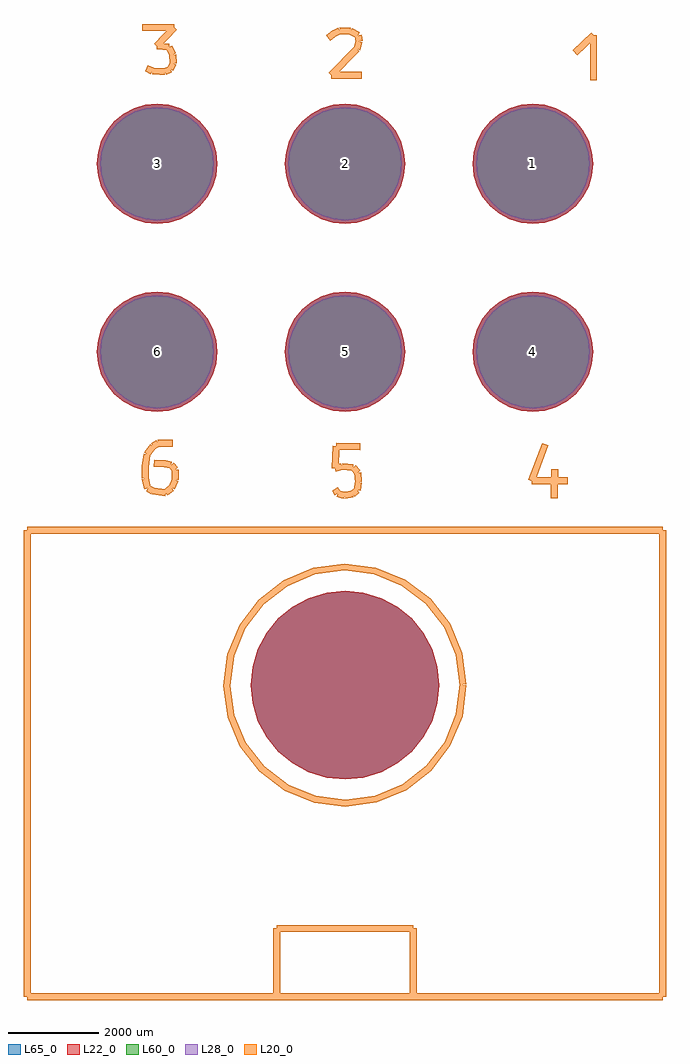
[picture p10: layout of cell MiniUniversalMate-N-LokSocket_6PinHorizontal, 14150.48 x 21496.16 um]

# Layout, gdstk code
import gdstk
lib = gdstk.Library(unit=1e-6, precision=1e-09)
def P(c, l, *ps):  # polygons
    for p in ps: c.add(gdstk.Polygon(p, *l))
L20_0 = (20, 0)
L22_0 = (22, 0)
L28_0 = (28, 0)
L60_0 = (60, 0)
L65_0 = (65, 0)

miniuniversalmate_n_loks = lib.new_cell('MiniUniversalMate-N-LokSocket_6PinHorizontal')
P(miniuniversalmate_n_loks, L22_0, [(2075.25,-9410.7),(2035.375,-9005.839),(1917.281,-8616.536),(1725.507,-8257.753),(1467.423,-7943.277),(1152.947,-7685.193),(794.164,-7493.419),(404.861,-7375.325),(0,-7335.45),(-404.861,-7375.325),(-794.164,-7493.419),(-1152.947,-7685.193),(-1467.423,-7943.277),(-1725.507,-8257.753),(-1917.281,-8616.536),(-2035.375,-9005.839),(-2075.25,-9410.7),(-2035.375,-9815.561),(-1917.281,-10204.864),(-1725.507,-10563.647),(-1467.423,-10878.123),(-1152.947,-11136.207),(-794.164,-11327.981),(-404.861,-11446.075),(0,-11485.95),(404.861,-11446.075),(794.164,-11327.981),(1152.947,-11136.207),(1467.423,-10878.123),(1725.507,-10563.647),(1917.281,-10204.864),(2035.375,-9815.561)],
  [(-2815.52,-2070.1),(-2840.973,-1811.668),(-2916.355,-1563.167),(-3038.769,-1334.147),(-3203.51,-1133.41),(-3404.247,-968.669),(-3633.267,-846.255),(-3881.768,-770.873),(-4140.2,-745.42),(-4398.632,-770.873),(-4647.133,-846.255),(-4876.153,-968.669),(-5076.89,-1133.41),(-5241.631,-1334.147),(-5364.045,-1563.167),(-5439.427,-1811.668),(-5464.88,-2070.1),(-5439.427,-2328.532),(-5364.045,-2577.033),(-5241.631,-2806.053),(-5076.89,-3006.79),(-4876.153,-3171.531),(-4647.133,-3293.945),(-4398.632,-3369.327),(-4140.2,-3394.78),(-3881.768,-3369.327),(-3633.267,-3293.945),(-3404.247,-3171.531),(-3203.51,-3006.79),(-3038.769,-2806.053),(-2916.355,-2577.033),(-2840.973,-2328.532)],
  [(1324.68,-2070.1),(1299.227,-1811.668),(1223.845,-1563.167),(1101.431,-1334.147),(936.69,-1133.41),(735.953,-968.669),(506.933,-846.255),(258.432,-770.873),(0,-745.42),(-258.432,-770.873),(-506.933,-846.255),(-735.953,-968.669),(-936.69,-1133.41),(-1101.431,-1334.147),(-1223.845,-1563.167),(-1299.227,-1811.668),(-1324.68,-2070.1),(-1299.227,-2328.532),(-1223.845,-2577.033),(-1101.431,-2806.053),(-936.69,-3006.79),(-735.953,-3171.531),(-506.933,-3293.945),(-258.432,-3369.327),(0,-3394.78),(258.432,-3369.327),(506.933,-3293.945),(735.953,-3171.531),(936.69,-3006.79),(1101.431,-2806.053),(1223.845,-2577.033),(1299.227,-2328.532)],
  [(5464.88,-2070.1),(5439.427,-1811.668),(5364.045,-1563.167),(5241.631,-1334.147),(5076.89,-1133.41),(4876.153,-968.669),(4647.133,-846.255),(4398.632,-770.873),(4140.2,-745.42),(3881.768,-770.873),(3633.267,-846.255),(3404.247,-968.669),(3203.51,-1133.41),(3038.769,-1334.147),(2916.355,-1563.167),(2840.973,-1811.668),(2815.52,-2070.1),(2840.973,-2328.532),(2916.355,-2577.033),(3038.769,-2806.053),(3203.51,-3006.79),(3404.247,-3171.531),(3633.267,-3293.945),(3881.768,-3369.327),(4140.2,-3394.78),(4398.632,-3369.327),(4647.133,-3293.945),(4876.153,-3171.531),(5076.89,-3006.79),(5241.631,-2806.053),(5364.045,-2577.033),(5439.427,-2328.532)],
  [(-2815.52,2070.1),(-2840.973,2328.532),(-2916.355,2577.033),(-3038.769,2806.053),(-3203.51,3006.79),(-3404.247,3171.531),(-3633.267,3293.945),(-3881.768,3369.327),(-4140.2,3394.78),(-4398.632,3369.327),(-4647.133,3293.945),(-4876.153,3171.531),(-5076.89,3006.79),(-5241.631,2806.053),(-5364.045,2577.033),(-5439.427,2328.532),(-5464.88,2070.1),(-5439.427,1811.668),(-5364.045,1563.167),(-5241.631,1334.147),(-5076.89,1133.41),(-4876.153,968.669),(-4647.133,846.255),(-4398.632,770.873),(-4140.2,745.42),(-3881.768,770.873),(-3633.267,846.255),(-3404.247,968.669),(-3203.51,1133.41),(-3038.769,1334.147),(-2916.355,1563.167),(-2840.973,1811.668)],
  [(1324.68,2070.1),(1299.227,2328.532),(1223.845,2577.033),(1101.431,2806.053),(936.69,3006.79),(735.953,3171.531),(506.933,3293.945),(258.432,3369.327),(0,3394.78),(-258.432,3369.327),(-506.933,3293.945),(-735.953,3171.531),(-936.69,3006.79),(-1101.431,2806.053),(-1223.845,2577.033),(-1299.227,2328.532),(-1324.68,2070.1),(-1299.227,1811.668),(-1223.845,1563.167),(-1101.431,1334.147),(-936.69,1133.41),(-735.953,968.669),(-506.933,846.255),(-258.432,770.873),(0,745.42),(258.432,770.873),(506.933,846.255),(735.953,968.669),(936.69,1133.41),(1101.431,1334.147),(1223.845,1563.167),(1299.227,1811.668)],
  [(5464.88,2070.1),(5439.427,2328.532),(5364.045,2577.033),(5241.631,2806.053),(5076.89,3006.79),(4876.153,3171.531),(4647.133,3293.945),(4398.632,3369.327),(4140.2,3394.78),(3881.768,3369.327),(3633.267,3293.945),(3404.247,3171.531),(3203.51,3006.79),(3038.769,2806.053),(2916.355,2577.033),(2840.973,2328.532),(2815.52,2070.1),(2840.973,1811.668),(2916.355,1563.167),(3038.769,1334.147),(3203.51,1133.41),(3404.247,968.669),(3633.267,846.255),(3881.768,770.873),(4140.2,745.42),(4398.632,770.873),(4647.133,846.255),(4876.153,968.669),(5076.89,1133.41),(5241.631,1334.147),(5364.045,1563.167),(5439.427,1811.668)])
P(miniuniversalmate_n_loks, L28_0, [(-2890.52,-2070.1),(-2914.532,-1826.3),(-2985.646,-1591.868),(-3101.129,-1375.815),(-3256.543,-1186.443),(-3445.915,-1031.029),(-3661.968,-915.546),(-3896.4,-844.432),(-4140.2,-820.42),(-4384,-844.432),(-4618.432,-915.546),(-4834.485,-1031.029),(-5023.857,-1186.443),(-5179.271,-1375.815),(-5294.754,-1591.868),(-5365.868,-1826.3),(-5389.88,-2070.1),(-5365.868,-2313.9),(-5294.754,-2548.332),(-5179.271,-2764.385),(-5023.857,-2953.757),(-4834.485,-3109.171),(-4618.432,-3224.654),(-4384,-3295.768),(-4140.2,-3319.78),(-3896.4,-3295.768),(-3661.968,-3224.654),(-3445.915,-3109.171),(-3256.543,-2953.757),(-3101.129,-2764.385),(-2985.646,-2548.332),(-2914.532,-2313.9)],
  [(1249.68,-2070.1),(1225.668,-1826.3),(1154.554,-1591.868),(1039.071,-1375.815),(883.657,-1186.443),(694.285,-1031.029),(478.232,-915.546),(243.8,-844.432),(0,-820.42),(-243.8,-844.432),(-478.232,-915.546),(-694.285,-1031.029),(-883.657,-1186.443),(-1039.071,-1375.815),(-1154.554,-1591.868),(-1225.668,-1826.3),(-1249.68,-2070.1),(-1225.668,-2313.9),(-1154.554,-2548.332),(-1039.071,-2764.385),(-883.657,-2953.757),(-694.285,-3109.171),(-478.232,-3224.654),(-243.8,-3295.768),(0,-3319.78),(243.8,-3295.768),(478.232,-3224.654),(694.285,-3109.171),(883.657,-2953.757),(1039.071,-2764.385),(1154.554,-2548.332),(1225.668,-2313.9)],
  [(5389.88,-2070.1),(5365.868,-1826.3),(5294.754,-1591.868),(5179.271,-1375.815),(5023.857,-1186.443),(4834.485,-1031.029),(4618.432,-915.546),(4384,-844.432),(4140.2,-820.42),(3896.4,-844.432),(3661.968,-915.546),(3445.915,-1031.029),(3256.543,-1186.443),(3101.129,-1375.815),(2985.646,-1591.868),(2914.532,-1826.3),(2890.52,-2070.1),(2914.532,-2313.9),(2985.646,-2548.332),(3101.129,-2764.385),(3256.543,-2953.757),(3445.915,-3109.171),(3661.968,-3224.654),(3896.4,-3295.768),(4140.2,-3319.78),(4384,-3295.768),(4618.432,-3224.654),(4834.485,-3109.171),(5023.857,-2953.757),(5179.271,-2764.385),(5294.754,-2548.332),(5365.868,-2313.9)],
  [(-2890.52,2070.1),(-2914.532,2313.9),(-2985.646,2548.332),(-3101.129,2764.385),(-3256.543,2953.757),(-3445.915,3109.171),(-3661.968,3224.654),(-3896.4,3295.768),(-4140.2,3319.78),(-4384,3295.768),(-4618.432,3224.654),(-4834.485,3109.171),(-5023.857,2953.757),(-5179.271,2764.385),(-5294.754,2548.332),(-5365.868,2313.9),(-5389.88,2070.1),(-5365.868,1826.3),(-5294.754,1591.868),(-5179.271,1375.815),(-5023.857,1186.443),(-4834.485,1031.029),(-4618.432,915.546),(-4384,844.432),(-4140.2,820.42),(-3896.4,844.432),(-3661.968,915.546),(-3445.915,1031.029),(-3256.543,1186.443),(-3101.129,1375.815),(-2985.646,1591.868),(-2914.532,1826.3)],
  [(1249.68,2070.1),(1225.668,2313.9),(1154.554,2548.332),(1039.071,2764.385),(883.657,2953.757),(694.285,3109.171),(478.232,3224.654),(243.8,3295.768),(0,3319.78),(-243.8,3295.768),(-478.232,3224.654),(-694.285,3109.171),(-883.657,2953.757),(-1039.071,2764.385),(-1154.554,2548.332),(-1225.668,2313.9),(-1249.68,2070.1),(-1225.668,1826.3),(-1154.554,1591.868),(-1039.071,1375.815),(-883.657,1186.443),(-694.285,1031.029),(-478.232,915.546),(-243.8,844.432),(0,820.42),(243.8,844.432),(478.232,915.546),(694.285,1031.029),(883.657,1186.443),(1039.071,1375.815),(1154.554,1591.868),(1225.668,1826.3)],
  [(5389.88,2070.1),(5365.868,2313.9),(5294.754,2548.332),(5179.271,2764.385),(5023.857,2953.757),(4834.485,3109.171),(4618.432,3224.654),(4384,3295.768),(4140.2,3319.78),(3896.4,3295.768),(3661.968,3224.654),(3445.915,3109.171),(3256.543,2953.757),(3101.129,2764.385),(2985.646,2548.332),(2914.532,2313.9),(2890.52,2070.1),(2914.532,1826.3),(2985.646,1591.868),(3101.129,1375.815),(3256.543,1186.443),(3445.915,1031.029),(3661.968,915.546),(3896.4,844.432),(4140.2,820.42),(4384,844.432),(4618.432,915.546),(4834.485,1031.029),(5023.857,1186.443),(5179.271,1375.815),(5294.754,1591.868),(5365.868,1826.3)])
P(miniuniversalmate_n_loks, L60_0, [(-2890.52,-2070.1),(-2914.532,-1826.3),(-2985.646,-1591.868),(-3101.129,-1375.815),(-3256.543,-1186.443),(-3445.915,-1031.029),(-3661.968,-915.546),(-3896.4,-844.432),(-4140.2,-820.42),(-4384,-844.432),(-4618.432,-915.546),(-4834.485,-1031.029),(-5023.857,-1186.443),(-5179.271,-1375.815),(-5294.754,-1591.868),(-5365.868,-1826.3),(-5389.88,-2070.1),(-5365.868,-2313.9),(-5294.754,-2548.332),(-5179.271,-2764.385),(-5023.857,-2953.757),(-4834.485,-3109.171),(-4618.432,-3224.654),(-4384,-3295.768),(-4140.2,-3319.78),(-3896.4,-3295.768),(-3661.968,-3224.654),(-3445.915,-3109.171),(-3256.543,-2953.757),(-3101.129,-2764.385),(-2985.646,-2548.332),(-2914.532,-2313.9)],
  [(1249.68,-2070.1),(1225.668,-1826.3),(1154.554,-1591.868),(1039.071,-1375.815),(883.657,-1186.443),(694.285,-1031.029),(478.232,-915.546),(243.8,-844.432),(0,-820.42),(-243.8,-844.432),(-478.232,-915.546),(-694.285,-1031.029),(-883.657,-1186.443),(-1039.071,-1375.815),(-1154.554,-1591.868),(-1225.668,-1826.3),(-1249.68,-2070.1),(-1225.668,-2313.9),(-1154.554,-2548.332),(-1039.071,-2764.385),(-883.657,-2953.757),(-694.285,-3109.171),(-478.232,-3224.654),(-243.8,-3295.768),(0,-3319.78),(243.8,-3295.768),(478.232,-3224.654),(694.285,-3109.171),(883.657,-2953.757),(1039.071,-2764.385),(1154.554,-2548.332),(1225.668,-2313.9)],
  [(5389.88,-2070.1),(5365.868,-1826.3),(5294.754,-1591.868),(5179.271,-1375.815),(5023.857,-1186.443),(4834.485,-1031.029),(4618.432,-915.546),(4384,-844.432),(4140.2,-820.42),(3896.4,-844.432),(3661.968,-915.546),(3445.915,-1031.029),(3256.543,-1186.443),(3101.129,-1375.815),(2985.646,-1591.868),(2914.532,-1826.3),(2890.52,-2070.1),(2914.532,-2313.9),(2985.646,-2548.332),(3101.129,-2764.385),(3256.543,-2953.757),(3445.915,-3109.171),(3661.968,-3224.654),(3896.4,-3295.768),(4140.2,-3319.78),(4384,-3295.768),(4618.432,-3224.654),(4834.485,-3109.171),(5023.857,-2953.757),(5179.271,-2764.385),(5294.754,-2548.332),(5365.868,-2313.9)],
  [(-2890.52,2070.1),(-2914.532,2313.9),(-2985.646,2548.332),(-3101.129,2764.385),(-3256.543,2953.757),(-3445.915,3109.171),(-3661.968,3224.654),(-3896.4,3295.768),(-4140.2,3319.78),(-4384,3295.768),(-4618.432,3224.654),(-4834.485,3109.171),(-5023.857,2953.757),(-5179.271,2764.385),(-5294.754,2548.332),(-5365.868,2313.9),(-5389.88,2070.1),(-5365.868,1826.3),(-5294.754,1591.868),(-5179.271,1375.815),(-5023.857,1186.443),(-4834.485,1031.029),(-4618.432,915.546),(-4384,844.432),(-4140.2,820.42),(-3896.4,844.432),(-3661.968,915.546),(-3445.915,1031.029),(-3256.543,1186.443),(-3101.129,1375.815),(-2985.646,1591.868),(-2914.532,1826.3)],
  [(1249.68,2070.1),(1225.668,2313.9),(1154.554,2548.332),(1039.071,2764.385),(883.657,2953.757),(694.285,3109.171),(478.232,3224.654),(243.8,3295.768),(0,3319.78),(-243.8,3295.768),(-478.232,3224.654),(-694.285,3109.171),(-883.657,2953.757),(-1039.071,2764.385),(-1154.554,2548.332),(-1225.668,2313.9),(-1249.68,2070.1),(-1225.668,1826.3),(-1154.554,1591.868),(-1039.071,1375.815),(-883.657,1186.443),(-694.285,1031.029),(-478.232,915.546),(-243.8,844.432),(0,820.42),(243.8,844.432),(478.232,915.546),(694.285,1031.029),(883.657,1186.443),(1039.071,1375.815),(1154.554,1591.868),(1225.668,1826.3)],
  [(5389.88,2070.1),(5365.868,2313.9),(5294.754,2548.332),(5179.271,2764.385),(5023.857,2953.757),(4834.485,3109.171),(4618.432,3224.654),(4384,3295.768),(4140.2,3319.78),(3896.4,3295.768),(3661.968,3224.654),(3445.915,3109.171),(3256.543,2953.757),(3101.129,2764.385),(2985.646,2548.332),(2914.532,2313.9),(2890.52,2070.1),(2914.532,1826.3),(2985.646,1591.868),(3101.129,1375.815),(3256.543,1186.443),(3445.915,1031.029),(3661.968,915.546),(3896.4,844.432),(4140.2,820.42),(4384,844.432),(4618.432,915.546),(4834.485,1031.029),(5023.857,1186.443),(5179.271,1375.815),(5294.754,1591.868),(5365.868,1826.3)])
P(miniuniversalmate_n_loks, L65_0, [(2075.25,-9410.7),(2035.375,-9005.839),(1917.281,-8616.536),(1725.507,-8257.753),(1467.423,-7943.277),(1152.947,-7685.193),(794.164,-7493.419),(404.861,-7375.325),(0,-7335.45),(-404.861,-7375.325),(-794.164,-7493.419),(-1152.947,-7685.193),(-1467.423,-7943.277),(-1725.507,-8257.753),(-1917.281,-8616.536),(-2035.375,-9005.839),(-2075.25,-9410.7),(-2035.375,-9815.561),(-1917.281,-10204.864),(-1725.507,-10563.647),(-1467.423,-10878.123),(-1152.947,-11136.207),(-794.164,-11327.981),(-404.861,-11446.075),(0,-11485.95),(404.861,-11446.075),(794.164,-11327.981),(1152.947,-11136.207),(1467.423,-10878.123),(1725.507,-10563.647),(1917.281,-10204.864),(2035.375,-9815.561)],
  [(-2815.52,-2070.1),(-2840.973,-1811.668),(-2916.355,-1563.167),(-3038.769,-1334.147),(-3203.51,-1133.41),(-3404.247,-968.669),(-3633.267,-846.255),(-3881.768,-770.873),(-4140.2,-745.42),(-4398.632,-770.873),(-4647.133,-846.255),(-4876.153,-968.669),(-5076.89,-1133.41),(-5241.631,-1334.147),(-5364.045,-1563.167),(-5439.427,-1811.668),(-5464.88,-2070.1),(-5439.427,-2328.532),(-5364.045,-2577.033),(-5241.631,-2806.053),(-5076.89,-3006.79),(-4876.153,-3171.531),(-4647.133,-3293.945),(-4398.632,-3369.327),(-4140.2,-3394.78),(-3881.768,-3369.327),(-3633.267,-3293.945),(-3404.247,-3171.531),(-3203.51,-3006.79),(-3038.769,-2806.053),(-2916.355,-2577.033),(-2840.973,-2328.532)],
  [(1324.68,-2070.1),(1299.227,-1811.668),(1223.845,-1563.167),(1101.431,-1334.147),(936.69,-1133.41),(735.953,-968.669),(506.933,-846.255),(258.432,-770.873),(0,-745.42),(-258.432,-770.873),(-506.933,-846.255),(-735.953,-968.669),(-936.69,-1133.41),(-1101.431,-1334.147),(-1223.845,-1563.167),(-1299.227,-1811.668),(-1324.68,-2070.1),(-1299.227,-2328.532),(-1223.845,-2577.033),(-1101.431,-2806.053),(-936.69,-3006.79),(-735.953,-3171.531),(-506.933,-3293.945),(-258.432,-3369.327),(0,-3394.78),(258.432,-3369.327),(506.933,-3293.945),(735.953,-3171.531),(936.69,-3006.79),(1101.431,-2806.053),(1223.845,-2577.033),(1299.227,-2328.532)],
  [(5464.88,-2070.1),(5439.427,-1811.668),(5364.045,-1563.167),(5241.631,-1334.147),(5076.89,-1133.41),(4876.153,-968.669),(4647.133,-846.255),(4398.632,-770.873),(4140.2,-745.42),(3881.768,-770.873),(3633.267,-846.255),(3404.247,-968.669),(3203.51,-1133.41),(3038.769,-1334.147),(2916.355,-1563.167),(2840.973,-1811.668),(2815.52,-2070.1),(2840.973,-2328.532),(2916.355,-2577.033),(3038.769,-2806.053),(3203.51,-3006.79),(3404.247,-3171.531),(3633.267,-3293.945),(3881.768,-3369.327),(4140.2,-3394.78),(4398.632,-3369.327),(4647.133,-3293.945),(4876.153,-3171.531),(5076.89,-3006.79),(5241.631,-2806.053),(5364.045,-2577.033),(5439.427,-2328.532)],
  [(-2815.52,2070.1),(-2840.973,2328.532),(-2916.355,2577.033),(-3038.769,2806.053),(-3203.51,3006.79),(-3404.247,3171.531),(-3633.267,3293.945),(-3881.768,3369.327),(-4140.2,3394.78),(-4398.632,3369.327),(-4647.133,3293.945),(-4876.153,3171.531),(-5076.89,3006.79),(-5241.631,2806.053),(-5364.045,2577.033),(-5439.427,2328.532),(-5464.88,2070.1),(-5439.427,1811.668),(-5364.045,1563.167),(-5241.631,1334.147),(-5076.89,1133.41),(-4876.153,968.669),(-4647.133,846.255),(-4398.632,770.873),(-4140.2,745.42),(-3881.768,770.873),(-3633.267,846.255),(-3404.247,968.669),(-3203.51,1133.41),(-3038.769,1334.147),(-2916.355,1563.167),(-2840.973,1811.668)],
  [(1324.68,2070.1),(1299.227,2328.532),(1223.845,2577.033),(1101.431,2806.053),(936.69,3006.79),(735.953,3171.531),(506.933,3293.945),(258.432,3369.327),(0,3394.78),(-258.432,3369.327),(-506.933,3293.945),(-735.953,3171.531),(-936.69,3006.79),(-1101.431,2806.053),(-1223.845,2577.033),(-1299.227,2328.532),(-1324.68,2070.1),(-1299.227,1811.668),(-1223.845,1563.167),(-1101.431,1334.147),(-936.69,1133.41),(-735.953,968.669),(-506.933,846.255),(-258.432,770.873),(0,745.42),(258.432,770.873),(506.933,846.255),(735.953,968.669),(936.69,1133.41),(1101.431,1334.147),(1223.845,1563.167),(1299.227,1811.668)],
  [(5464.88,2070.1),(5439.427,2328.532),(5364.045,2577.033),(5241.631,2806.053),(5076.89,3006.79),(4876.153,3171.531),(4647.133,3293.945),(4398.632,3369.327),(4140.2,3394.78),(3881.768,3369.327),(3633.267,3293.945),(3404.247,3171.531),(3203.51,3006.79),(3038.769,2806.053),(2916.355,2577.033),(2840.973,2328.532),(2815.52,2070.1),(2840.973,1811.668),(2916.355,1563.167),(3038.769,1334.147),(3203.51,1133.41),(3404.247,968.669),(3633.267,846.255),(3881.768,770.873),(4140.2,745.42),(4398.632,770.873),(4647.133,846.255),(4876.153,968.669),(5076.89,1133.41),(5241.631,1334.147),(5364.045,1563.167),(5439.427,1811.668)])
miniuniversalmate_n_loks.add(gdstk.FlexPath([(5473.7,4899.66),(5473.7,3909.06)], 149.998, ends="flush", simple_path=True, layer=20, datatype=0))  # L20_0
miniuniversalmate_n_loks.add(gdstk.FlexPath([(5062.22,4518.66),(5473.7,4899.66)], 149.998, ends="flush", simple_path=True, layer=20, datatype=0))  # L20_0
miniuniversalmate_n_loks.add(gdstk.FlexPath([(-307.34,4018.28),(373.38,4018.28)], 149.998, ends="flush", simple_path=True, layer=20, datatype=0))  # L20_0
miniuniversalmate_n_loks.add(gdstk.FlexPath([(261.62,4597.4),(-307.34,4018.28)], 149.998, ends="flush", simple_path=True, layer=20, datatype=0))  # L20_0
miniuniversalmate_n_loks.add(gdstk.FlexPath([(312.42,4767.58),(261.62,4597.4)], 149.998, ends="flush", simple_path=True, layer=20, datatype=0))  # L20_0
miniuniversalmate_n_loks.add(gdstk.FlexPath([(292.1,4897.12),(312.42,4767.58)], 149.998, ends="flush", simple_path=True, layer=20, datatype=0))  # L20_0
miniuniversalmate_n_loks.add(gdstk.FlexPath([(121.92,4988.56),(292.1,4897.12)], 149.998, ends="flush", simple_path=True, layer=20, datatype=0))  # L20_0
miniuniversalmate_n_loks.add(gdstk.FlexPath([(-116.84,4998.72),(121.92,4988.56)], 149.998, ends="flush", simple_path=True, layer=20, datatype=0))  # L20_0
miniuniversalmate_n_loks.add(gdstk.FlexPath([(-228.6,4947.92),(-116.84,4998.72)], 149.998, ends="flush", simple_path=True, layer=20, datatype=0))  # L20_0
miniuniversalmate_n_loks.add(gdstk.FlexPath([(-368.3,4838.7),(-228.6,4947.92)], 149.998, ends="flush", simple_path=True, layer=20, datatype=0))  # L20_0
miniuniversalmate_n_loks.add(gdstk.FlexPath([(-4244.34,4114.8),(-4373.88,4173.22)], 149.998, ends="flush", simple_path=True, layer=20, datatype=0))  # L20_0
miniuniversalmate_n_loks.add(gdstk.FlexPath([(-4074.16,4104.64),(-4244.34,4114.8)], 149.998, ends="flush", simple_path=True, layer=20, datatype=0))  # L20_0
miniuniversalmate_n_loks.add(gdstk.FlexPath([(-3964.94,4104.64),(-4074.16,4104.64)], 149.998, ends="flush", simple_path=True, layer=20, datatype=0))  # L20_0
miniuniversalmate_n_loks.add(gdstk.FlexPath([(-3845.56,4155.44),(-3964.94,4104.64)], 149.998, ends="flush", simple_path=True, layer=20, datatype=0))  # L20_0
miniuniversalmate_n_loks.add(gdstk.FlexPath([(-3784.6,4284.98),(-3845.56,4155.44)], 149.998, ends="flush", simple_path=True, layer=20, datatype=0))  # L20_0
miniuniversalmate_n_loks.add(gdstk.FlexPath([(-3794.76,4475.48),(-3784.6,4284.98)], 149.998, ends="flush", simple_path=True, layer=20, datatype=0))  # L20_0
miniuniversalmate_n_loks.add(gdstk.FlexPath([(-3876.04,4643.12),(-3794.76,4475.48)], 149.998, ends="flush", simple_path=True, layer=20, datatype=0))  # L20_0
miniuniversalmate_n_loks.add(gdstk.FlexPath([(-4145.28,4663.44),(-3876.04,4643.12)], 149.998, ends="flush", simple_path=True, layer=20, datatype=0))  # L20_0
miniuniversalmate_n_loks.add(gdstk.FlexPath([(-3764.28,5074.92),(-4145.28,4663.44)], 149.998, ends="flush", simple_path=True, layer=20, datatype=0))  # L20_0
miniuniversalmate_n_loks.add(gdstk.FlexPath([(-4465.32,5074.92),(-3764.28,5074.92)], 149.998, ends="flush", simple_path=True, layer=20, datatype=0))  # L20_0
miniuniversalmate_n_loks.add(gdstk.FlexPath([(-3959.86,-4536.44),(-4208.78,-4526.28)], 149.998, ends="flush", simple_path=True, layer=20, datatype=0))  # L20_0
miniuniversalmate_n_loks.add(gdstk.FlexPath([(-3827.78,-4566.92),(-3959.86,-4536.44)], 149.998, ends="flush", simple_path=True, layer=20, datatype=0))  # L20_0
miniuniversalmate_n_loks.add(gdstk.FlexPath([(-3738.88,-4665.98),(-3827.78,-4566.92)], 149.998, ends="flush", simple_path=True, layer=20, datatype=0))  # L20_0
miniuniversalmate_n_loks.add(gdstk.FlexPath([(-3738.88,-4886.96),(-3738.88,-4665.98)], 149.998, ends="flush", simple_path=True, layer=20, datatype=0))  # L20_0
miniuniversalmate_n_loks.add(gdstk.FlexPath([(-3817.62,-5067.3),(-3738.88,-4886.96)], 149.998, ends="flush", simple_path=True, layer=20, datatype=0))  # L20_0
miniuniversalmate_n_loks.add(gdstk.FlexPath([(-3949.7,-5176.52),(-3817.62,-5067.3)], 149.998, ends="flush", simple_path=True, layer=20, datatype=0))  # L20_0
miniuniversalmate_n_loks.add(gdstk.FlexPath([(-4229.1,-5135.88),(-3949.7,-5176.52)], 149.998, ends="flush", simple_path=True, layer=20, datatype=0))  # L20_0
miniuniversalmate_n_loks.add(gdstk.FlexPath([(-4348.48,-5077.46),(-4229.1,-5135.88)], 149.998, ends="flush", simple_path=True, layer=20, datatype=0))  # L20_0
miniuniversalmate_n_loks.add(gdstk.FlexPath([(-4399.28,-4856.48),(-4348.48,-5077.46)], 149.998, ends="flush", simple_path=True, layer=20, datatype=0))  # L20_0
miniuniversalmate_n_loks.add(gdstk.FlexPath([(-4399.28,-4597.4),(-4399.28,-4856.48)], 149.998, ends="flush", simple_path=True, layer=20, datatype=0))  # L20_0
miniuniversalmate_n_loks.add(gdstk.FlexPath([(-4358.64,-4325.62),(-4399.28,-4597.4)], 149.998, ends="flush", simple_path=True, layer=20, datatype=0))  # L20_0
miniuniversalmate_n_loks.add(gdstk.FlexPath([(-4229.1,-4147.82),(-4358.64,-4325.62)], 149.998, ends="flush", simple_path=True, layer=20, datatype=0))  # L20_0
miniuniversalmate_n_loks.add(gdstk.FlexPath([(-4119.88,-4086.86),(-4229.1,-4147.82)], 149.998, ends="flush", simple_path=True, layer=20, datatype=0))  # L20_0
miniuniversalmate_n_loks.add(gdstk.FlexPath([(-3888.74,-4086.86),(-4119.88,-4086.86)], 149.998, ends="flush", simple_path=True, layer=20, datatype=0))  # L20_0
miniuniversalmate_n_loks.add(gdstk.FlexPath([(-3789.68,-4086.86),(-3888.74,-4086.86)], 149.998, ends="flush", simple_path=True, layer=20, datatype=0))  # L20_0
miniuniversalmate_n_loks.add(gdstk.FlexPath([(-162.56,-5189.22),(-220.98,-5087.62)], 149.998, ends="flush", simple_path=True, layer=20, datatype=0))  # L20_0
miniuniversalmate_n_loks.add(gdstk.FlexPath([(-60.96,-5219.7),(-162.56,-5189.22)], 149.998, ends="flush", simple_path=True, layer=20, datatype=0))  # L20_0
miniuniversalmate_n_loks.add(gdstk.FlexPath([(-2.54,-5229.86),(-60.96,-5219.7)], 149.998, ends="flush", simple_path=True, layer=20, datatype=0))  # L20_0
miniuniversalmate_n_loks.add(gdstk.FlexPath([(167.64,-5199.38),(-2.54,-5229.86)], 149.998, ends="flush", simple_path=True, layer=20, datatype=0))  # L20_0
miniuniversalmate_n_loks.add(gdstk.FlexPath([(269.24,-5118.1),(167.64,-5199.38)], 149.998, ends="flush", simple_path=True, layer=20, datatype=0))  # L20_0
miniuniversalmate_n_loks.add(gdstk.FlexPath([(299.72,-4937.76),(269.24,-5118.1)], 149.998, ends="flush", simple_path=True, layer=20, datatype=0))  # L20_0
miniuniversalmate_n_loks.add(gdstk.FlexPath([(279.4,-4729.48),(299.72,-4937.76)], 149.998, ends="flush", simple_path=True, layer=20, datatype=0))  # L20_0
miniuniversalmate_n_loks.add(gdstk.FlexPath([(177.8,-4617.72),(279.4,-4729.48)], 149.998, ends="flush", simple_path=True, layer=20, datatype=0))  # L20_0
miniuniversalmate_n_loks.add(gdstk.FlexPath([(-71.12,-4597.4),(177.8,-4617.72)], 149.998, ends="flush", simple_path=True, layer=20, datatype=0))  # L20_0
miniuniversalmate_n_loks.add(gdstk.FlexPath([(-220.98,-4638.04),(-71.12,-4597.4)], 149.998, ends="flush", simple_path=True, layer=20, datatype=0))  # L20_0
miniuniversalmate_n_loks.add(gdstk.FlexPath([(-190.5,-4147.82),(-220.98,-4638.04)], 149.998, ends="flush", simple_path=True, layer=20, datatype=0))  # L20_0
miniuniversalmate_n_loks.add(gdstk.FlexPath([(337.82,-4157.98),(-190.5,-4147.82)], 149.998, ends="flush", simple_path=True, layer=20, datatype=0))  # L20_0
miniuniversalmate_n_loks.add(gdstk.FlexPath([(4109.72,-4912.36),(4909.82,-4912.36)], 149.998, ends="flush", simple_path=True, layer=20, datatype=0))  # L20_0
miniuniversalmate_n_loks.add(gdstk.FlexPath([(4409.44,-4104.64),(4109.72,-4912.36)], 149.998, ends="flush", simple_path=True, layer=20, datatype=0))  # L20_0
miniuniversalmate_n_loks.add(gdstk.FlexPath([(4610.1,-5293.36),(4620.26,-4653.28)], 149.998, ends="flush", simple_path=True, layer=20, datatype=0))  # L20_0
miniuniversalmate_n_loks.add(gdstk.FlexPath([(0,-16271.24),(7000.24,-16271.24)], 149.998, ends="flush", simple_path=True, layer=20, datatype=0))  # L20_0
miniuniversalmate_n_loks.add(gdstk.FlexPath([(0,-16271.24),(-7000.24,-16271.24)], 149.998, ends="flush", simple_path=True, layer=20, datatype=0))  # L20_0
miniuniversalmate_n_loks.add(gdstk.FlexPath([(7000.24,-5999.48),(7000.24,-16271.24)], 149.998, ends="flush", simple_path=True, layer=20, datatype=0))  # L20_0
miniuniversalmate_n_loks.add(gdstk.FlexPath([(-7000.24,-5999.48),(7000.24,-5999.48)], 149.998, ends="flush", simple_path=True, layer=20, datatype=0))  # L20_0
miniuniversalmate_n_loks.add(gdstk.FlexPath([(-7000.24,-16271.24),(-7000.24,-5999.48)], 149.998, ends="flush", simple_path=True, layer=20, datatype=0))  # L20_0
miniuniversalmate_n_loks.add(gdstk.FlexPath([(-1501.14,-14770.1),(-1501.14,-16271.24)], 149.998, ends="flush", simple_path=True, layer=20, datatype=0))  # L20_0
miniuniversalmate_n_loks.add(gdstk.FlexPath([(1501.14,-14770.1),(-1501.14,-14770.1)], 149.998, ends="flush", simple_path=True, layer=20, datatype=0))  # L20_0
miniuniversalmate_n_loks.add(gdstk.FlexPath([(1501.14,-16271.24),(1501.14,-14770.1)], 149.998, ends="flush", simple_path=True, layer=20, datatype=0))  # L20_0
miniuniversalmate_n_loks.add(gdstk.FlexPath([(2600.96,-9400.54),(2509.705,-8727.708),(2247.417,-8101.421),(1831.972,-7564.359),(1291.681,-7153.123),(663.364,-6895.736),(-10.16,-6809.74),(-682.992,-6900.995),(-1309.279,-7163.283),(-1846.341,-7578.728),(-2257.577,-8119.019),(-2514.964,-8747.336),(-2600.96,-9420.86),(-2509.705,-10093.692),(-2247.417,-10719.979),(-1831.972,-11257.041),(-1291.681,-11668.277),(-663.364,-11925.664),(10.16,-12011.66),(682.992,-11920.405),(1309.279,-11658.117),(1846.341,-11242.672),(2257.577,-10702.381),(2514.964,-10074.064),(2600.96,-9400.54)], 149.998, ends="flush", simple_path=True, layer=20, datatype=0))  # L20_0
miniuniversalmate_n_loks.add(gdstk.Label('6', (-4140.2,-2070.1), layer=28, texttype=0))
miniuniversalmate_n_loks.add(gdstk.Label('5', (0,-2070.1), layer=28, texttype=0))
miniuniversalmate_n_loks.add(gdstk.Label('4', (4140.2,-2070.1), layer=28, texttype=0))
miniuniversalmate_n_loks.add(gdstk.Label('3', (-4140.2,2070.1), layer=28, texttype=0))
miniuniversalmate_n_loks.add(gdstk.Label('2', (0,2070.1), layer=28, texttype=0))
miniuniversalmate_n_loks.add(gdstk.Label('1', (4140.2,2070.1), layer=28, texttype=0))
miniuniversalmate_n_loks.add(gdstk.Label('type', (-408.94,-19540.22), layer=9, texttype=0))
miniuniversalmate_n_loks.add(gdstk.Label('devicename', (-690.88,7299.96), layer=9, texttype=0))

lib.write_gds('MiniUniversalMate-N-LokSocket_6PinHorizontal.gds')
